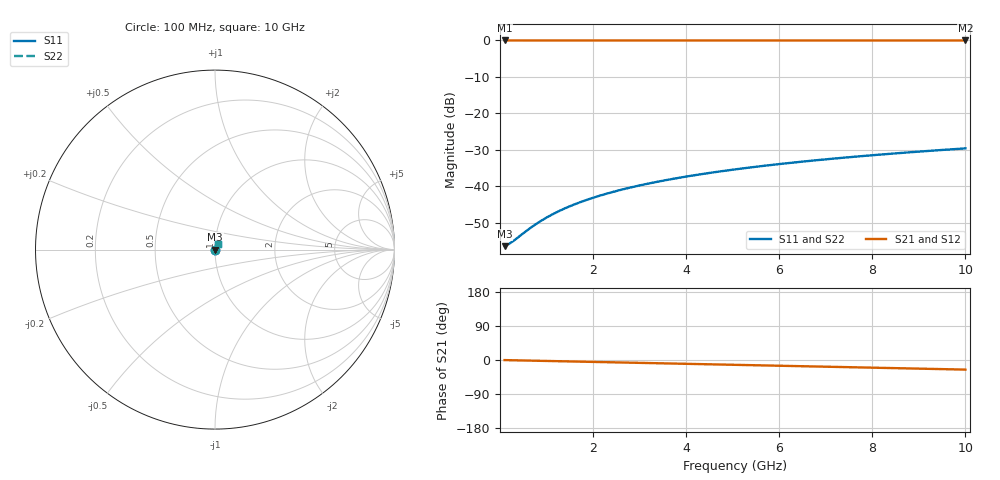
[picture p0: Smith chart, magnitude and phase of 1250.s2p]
# Hz S RI R 50.00
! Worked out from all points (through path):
!   100 points, 100 MHz to 10 GHz, reference 50 ohm
!   highest |S21| = -0.01 dB at 100 MHz (marker M1); lowest = 0.0 dB at 10 GHz (marker M2)
!   group delay of S21, straight-line fit = 7.04 ps
!   lowest |S11| = -56.4 dB at 100 MHz (marker M3), VSWR 1.00, Z = 50.1 + j0.0335 ohm
!   |S11| at or under -10 dB: start of sweep to end of sweep
!   |S22| runs from -56.4 to -29.6 dB; largest |S21 - S12| = 1e-13
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1e8  0.00147 0.000334  0.9985 -0.00438  0.9985 -0.00438  0.00147 0.000334
2e8  0.00148 0.000668  0.9985 -0.00876  0.9985 -0.00876  0.00148 0.000668
3e8  0.0015 0.001  0.9984 -0.0131  0.9984 -0.0131  0.0015 0.001
6e8  0.00155 0.002  0.9981 -0.0263  0.9981 -0.0263  0.00155 0.002
7e8  0.00157 0.00234  0.998 -0.0307  0.998 -0.0307  0.00157 0.00234
8e8  0.00159 0.00267  0.9979 -0.035  0.9979 -0.035  0.00159 0.00267
1e9  0.00165 0.00333  0.9975 -0.0438  0.9975 -0.0438  0.00165 0.00333
1.2e9  0.00172 0.004  0.9971 -0.0526  0.9971 -0.0526  0.00172 0.004
1.4e9  0.00179 0.00466  0.9965 -0.0613  0.9965 -0.0613  0.00179 0.00466
1.6e9  0.00188 0.00532  0.996 -0.0701  0.996 -0.0701  0.00188 0.00532
1.8e9  0.00198 0.00598  0.9953 -0.0788  0.9953 -0.0788  0.00198 0.00598
2.1e9  0.00216 0.00696  0.9941 -0.0919  0.9941 -0.0919  0.00216 0.00696
2.5e9  0.00243 0.00826  0.9923 -0.1094  0.9923 -0.1094  0.00243 0.00826
2.9e9  0.00274 0.00955  0.9902 -0.1269  0.9902 -0.1269  0.00274 0.00955
3.4e9  0.0032 0.0111  0.9872 -0.1486  0.9872 -0.1486  0.0032 0.0111
4.2e9  0.00407 0.0136  0.9812 -0.1833  0.9812 -0.1833  0.00407 0.0136
5.1e9  0.00527 0.0164  0.9731 -0.2222  0.9731 -0.2222  0.00527 0.0164
5.9e9  0.00652 0.0187  0.9646 -0.2565  0.9646 -0.2565  0.00652 0.0187
6.7e9  0.00793 0.021  0.9548 -0.2905  0.9548 -0.2905  0.00793 0.021
7.5e9  0.00951 0.0231  0.9438 -0.3242  0.9438 -0.3242  0.00951 0.0231
8.4e9  0.0115 0.0255  0.9299 -0.3617  0.9299 -0.3617  0.0115 0.0255
1e10  0.0155 0.0292  0.9015 -0.4271  0.9015 -0.4271  0.0155 0.0292
